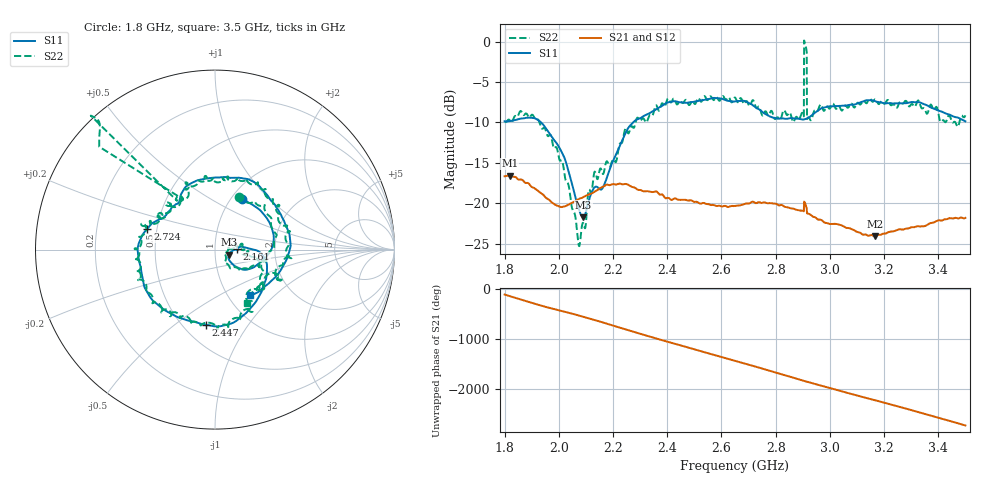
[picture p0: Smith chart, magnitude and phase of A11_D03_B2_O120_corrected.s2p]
! Created with skrf 1.9.0 (http://scikit-rf.org).
# Hz S RI R 50.0
!freq ReS11 ImS11 ReS21 ImS21 ReS12 ImS12 ReS22 ImS22
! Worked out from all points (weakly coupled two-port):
!   1601 points, 1.8 GHz to 3.5 GHz, reference 50 ohm
!   highest |S21| = -16.58 dB at 1.819 GHz (marker M1); lowest = -24.1 dB at 3.165 GHz (marker M2)
!   lowest |S11| = -21.8 dB at 2.09 GHz (marker M3), VSWR 1.18, Z = 58.2 - j3.25 ohm
!   |S11| at or under -10 dB: 1.935 GHz to 2.274 GHz (339.5 MHz wide, 16.1 % of centre)
!   |S22| runs from -25.3 to 0.2 dB; largest |S21 - S12| = 0.0026
!   S11 on the Smith chart (normalised r, x): 1.8 GHz: 1.12, +0.71; 2.161 GHz: 1.28, +0.02; 2.447 GHz: 0.64, -0.65; 2.724 GHz: 0.44, +0.12; 3.5 GHz: 1.26, -0.72
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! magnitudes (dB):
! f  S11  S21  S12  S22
! 1.8 GHz  -9.9  -16.7  -16.7  -9.8
! 1.819 GHz  -9.8  -16.6  -16.6  -9.7
! 1.968 GHz  -11.5  -19.7  -19.7  -11.5
! 2.072 GHz  -20.5  -19.5  -19.6  -24.9
! 2.084 GHz  -21.6  -19.4  -19.3  -23.1
! 2.09 GHz  -21.8  -19.3  -19.3  -22.5
! 2.13 GHz  -18.1  -18.6  -18.6  -16.3
! 2.161 GHz  -18.1  -18.0  -17.9  -16.3
! 2.258 GHz  -10.6  -17.8  -17.7  -11.3
! 2.367 GHz  -8.2  -18.8  -18.7  -8.5
! 2.447 GHz  -7.5  -19.6  -19.6  -7.3
! 2.65 GHz  -7.4  -20.3  -20.3  -6.9
! 2.724 GHz  -8.1  -20.0  -19.9  -7.9
! 2.886 GHz  -9.5  -20.9  -20.9  -9.6
! 2.895 GHz  -9.6  -20.9  -20.9  -8.9
! 2.906 GHz  -9.6  -19.9  -19.8  0.0
! 2.913 GHz  -9.5  -20.5  -20.5  -1.0
! 2.924 GHz  -9.4  -21.3  -21.3  -9.5
! 2.934 GHz  -9.1  -21.6  -21.6  -9.5
! 3.165 GHz  -7.3  -24.1  -24.1  -7.2
! 3.217 GHz  -7.6  -23.6  -23.5  -7.4
! 3.5 GHz  -9.9  -21.8  -21.8  -9.1
